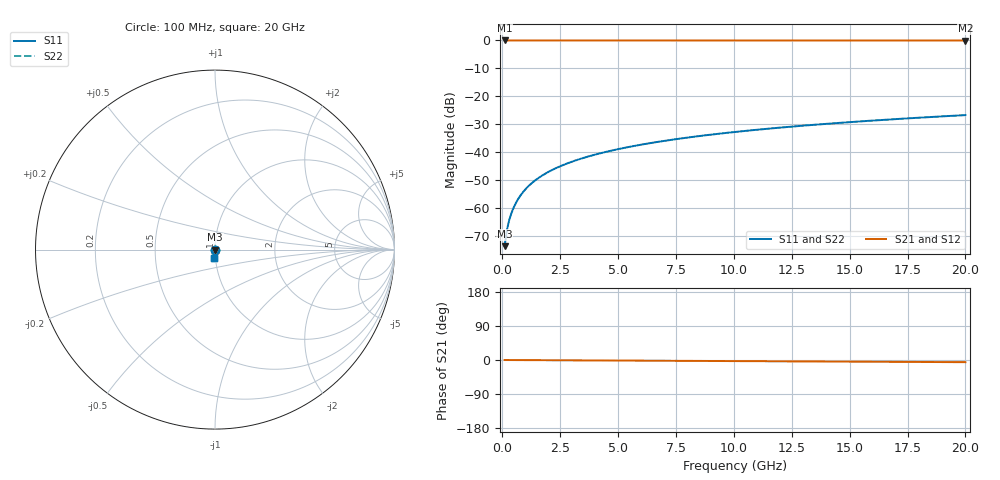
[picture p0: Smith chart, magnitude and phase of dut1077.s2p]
! Touchstone file exported from HFSS 2026.1.0
!  File:  C:/ffzhzh/LocalFiles/Ansys_Project_Files/temp_train_TSV_1077_1783190032_43440.aedt
!  Generated:  02:35:05 AM Jul  5, 2026
!  Design:  TSV
!  Project:  temp_train_TSV_1077_1783190032_43440
! Variables:
!  h_bsmrdl = 2um
!  h_ox = 20um
!  h_rdl = 5um
!  h_sub = 50.98um
!  h_tmrdl = 5um
!  h_tsv = 50.98um
!  h_via = 3um
!  l_bsmrdl = 300um
!  l_sub = 427.92um
!  l_tmrdl = 200um
!  m_sub = 200um
!  pitch = 37.78um
!  r_tsv = 13.96um
!  s_tmrdl = 10um
!  w_bsmrdl = 18um
!  w_sub = 500um
!  w_tmrdl = 12um
!  x_tsv_center1 = 206um
!  x_tsv_center2 = 524um
!  x_tsv_center3 = 736um
!  x_tsv_center4 = 1054um
!  x_tsv_center5 = 1266um
!  x_tsv_center6 = 1584um
# GHz S MA R 50.000000
! Terminal data exported
! Port[1] = TSV1_1_T1
! Port[2] = TSV1_1_T2
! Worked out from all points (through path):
!   200 points, 100 MHz to 20 GHz, reference 50 ohm
!   highest |S21| = 0.00 dB at 100 MHz (marker M1); lowest = 0.0 dB at 20 GHz (marker M2)
!   lowest |S11| = -73.6 dB at 100 MHz (marker M3), VSWR 1.00, Z = 50 - j0.0198 ohm
!   |S11| at or under -10 dB: start of sweep to end of sweep
!   |S22| runs from -73.6 to -26.7 dB; largest |S21 - S12| = 4.1e-15
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0.1  0.0002084 -72.2  0.9999 -0.0  0.9999 -0.0  0.0002084 -72.2
! Gamma 0 0 0 0
! Port Impedance 50 0 50 0
0.2  0.0004068 -79.5  0.9999 -0.1  0.9999 -0.1  0.0004068 -79.5
0.3  0.000613 -81.6  0.9999 -0.1  0.9999 -0.1  0.000613 -81.6
0.4  0.0008256 -82.6  0.9999 -0.1  0.9999 -0.1  0.0008256 -82.6
0.5  0.001043 -83.2  0.9999 -0.2  0.9999 -0.2  0.001043 -83.2
0.7  0.00149 -84.0  0.9998 -0.2  0.9998 -0.2  0.00149 -84.0
0.8  0.001716 -84.4  0.9998 -0.2  0.9998 -0.2  0.001716 -84.4
1  0.002173 -85.1  0.9998 -0.3  0.9998 -0.3  0.002173 -85.1
1.2  0.002631 -85.6  0.9998 -0.4  0.9998 -0.4  0.002631 -85.6
1.4  0.003089 -86.1  0.9998 -0.4  0.9998 -0.4  0.003089 -86.1
1.7  0.003776 -86.7  0.9997 -0.5  0.9997 -0.5  0.003776 -86.7
2  0.004463 -87.2  0.9997 -0.6  0.9997 -0.6  0.004463 -87.2
2.7  0.006066 -87.9  0.9997 -0.8  0.9997 -0.8  0.006066 -87.9
3.5  0.007901 -88.6  0.9996 -1.0  0.9996 -1.0  0.007901 -88.6
4.2  0.00951 -89.0  0.9996 -1.2  0.9996 -1.2  0.00951 -89.0
5  0.01135 -89.4  0.9995 -1.5  0.9995 -1.5  0.01135 -89.4
6.8  0.01551 -90.2  0.9994 -2.0  0.9994 -2.0  0.01551 -90.2
8.3  0.01899 -90.8  0.9993 -2.4  0.9993 -2.4  0.01899 -90.8
10.1  0.02317 -91.5  0.9991 -2.9  0.9991 -2.9  0.02317 -91.5
13.4  0.03083 -92.6  0.9989 -3.9  0.9989 -3.9  0.03082 -92.6
16.7  0.03848 -93.7  0.9985 -4.8  0.9985 -4.8  0.03848 -93.7
20  0.04614 -94.7  0.9981 -5.8  0.9981 -5.8  0.04614 -94.7
